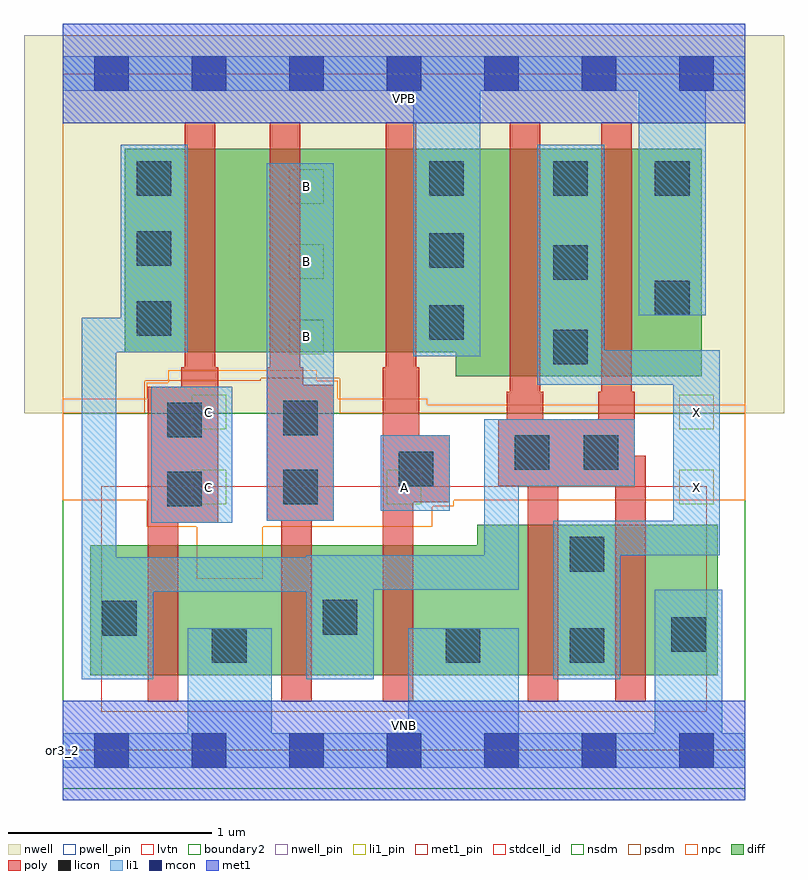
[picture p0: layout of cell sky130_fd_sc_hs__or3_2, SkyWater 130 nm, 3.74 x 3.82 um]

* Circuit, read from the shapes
.subckt sky130_fd_sc_hs__or3_2 A B C VGND VNB VPB VPWR X
XM1 VGND C n1 VNB sky130_fd_pr__nfet_01v8_lvt w=0.64 l=0.15
XM2 n1 B VGND VNB sky130_fd_pr__nfet_01v8_lvt w=0.64 l=0.15
XM3 VGND A n1 VNB sky130_fd_pr__nfet_01v8_lvt w=0.64 l=0.15
XM4 X n1 VGND VNB sky130_fd_pr__nfet_01v8_lvt w=0.74 l=0.15 m=2
XM5 n2 C n1 VPB sky130_fd_pr__pfet_01v8 w=1 l=0.15
XM6 n3 B n2 VPB sky130_fd_pr__pfet_01v8 w=1 l=0.15
XM7 VPWR A n3 VPB sky130_fd_pr__pfet_01v8 w=1 l=0.15
XM8 X n1 VPWR VPB sky130_fd_pr__pfet_01v8 w=1.12 l=0.15 m=2
.ends

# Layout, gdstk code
import gdstk
lib = gdstk.Library(unit=1e-6, precision=1e-09)
def R(c, l, rs):  # rectangles x0, y0, x1, y1
    for r in rs: c.add(gdstk.rectangle(r[:2], r[2:], *l))
def A(c, l, x, y, w, h, nx, ny, dx, dy):  # array of equal rectangles
    R(c, l, [(x+i*dx, y+j*dy, x+i*dx+w, y+j*dy+h) for i in range(nx) for j in range(ny)])
def P(c, l, *ps):  # polygons
    for p in ps: c.add(gdstk.Polygon(p, *l))
nwell_pin = (64, 16)
nwell = (64, 20)
diff = (65, 20)
poly = (66, 20)
licon = (66, 44)
li1_pin = (67, 16)
li1 = (67, 20)
mcon = (67, 44)
met1_pin = (68, 16)
met1 = (68, 20)
stdcell_id = (81, 4)
nsdm = (93, 44)
psdm = (94, 20)
npc = (95, 20)
pwell_pin = (122, 16)
lvtn = (125, 44)
boundary2 = (236, 0)

sky130_fd_sc_hs__or3_2 = lib.new_cell('sky130_fd_sc_hs__or3_2')
R(sky130_fd_sc_hs__or3_2, nwell_pin, [(0,3.085,3.36,3.33)])
R(sky130_fd_sc_hs__or3_2, nwell, [(-0.19,1.66,3.55,3.52)])
P(sky130_fd_sc_hs__or3_2, diff, [(3.145,2.96),(0.305,2.96),(0.305,1.96),(1.935,1.96),(1.935,1.84),(3.145,1.84)],
  [(3.225,1.11),(2.04,1.11),(2.04,1.01),(0.135,1.01),(0.135,0.37),(3.225,0.37)])
P(sky130_fd_sc_hs__or3_2, poly, [(0.765,1.885),(0.75,1.885),(0.75,3.09),(0.6,3.09),(0.6,1.885),(0.585,1.885),(0.585,1.79),(0.42,1.79),(0.42,0.24),(0.57,0.24),(0.57,1.12),(0.765,1.12)],
  [(1.335,1.8),(1.185,1.8),(1.185,1.885),(1.17,1.885),(1.17,3.09),(1.02,3.09),(1.02,1.885),(1.005,1.885),(1.005,1.13),(1.075,1.13),(1.075,0.24),(1.225,0.24),(1.225,1.13),(1.335,1.13)],
  [(1.905,1.55),(1.755,1.55),(1.755,1.885),(1.74,1.885),(1.74,3.09),(1.59,3.09),(1.59,1.885),(1.575,1.885),(1.575,0.24),(1.725,0.24),(1.725,1.22),(1.905,1.22)],
  [(2.87,1.45),(2.815,1.45),(2.815,1.765),(2.8,1.765),(2.8,3.09),(2.65,3.09),(2.65,1.765),(2.635,1.765),(2.635,1.63),(2.365,1.63),(2.365,1.765),(2.35,1.765),(2.35,3.09),(2.2,3.09),(2.2,1.765),(2.185,1.765),(2.185,1.63),(2.145,1.63),(2.145,1.3),(2.29,1.3),(2.29,0.24),(2.44,0.24),(2.44,1.3),(2.72,1.3),(2.72,0.24),(2.87,0.24)])
A(sky130_fd_sc_hs__or3_2, licon, 2.415, 1.9, 0.17, 0.17, 1, 3, 0, 0.415)
A(sky130_fd_sc_hs__or3_2, licon, 1.805, 2.02, 0.17, 0.17, 1, 3, 0, 0.355)
A(sky130_fd_sc_hs__or3_2, licon, 0.365, 2.04, 0.17, 0.17, 1, 3, 0, 0.345)
R(sky130_fd_sc_hs__or3_2, licon, [(0.735,0.43,0.905,0.6), (1.885,0.43,2.055,0.6), (2.495,0.43,2.665,0.6), (2.995,0.485,3.165,0.655), (0.195,0.565,0.365,0.735), (1.28,0.57,1.45,0.74), (2.495,0.88,2.665,1.05), (0.515,1.2,0.685,1.37), (1.085,1.21,1.255,1.38), (1.655,1.3,1.825,1.47), (2.225,1.38,2.395,1.55), (2.565,1.38,2.735,1.55), (0.515,1.54,0.685,1.71), (1.085,1.55,1.255,1.72), (2.915,2.14,3.085,2.31), (2.915,2.73,3.085,2.9)])
A(sky130_fd_sc_hs__or3_2, li1_pin, 1.115, 1.95, 0.17, 0.17, 1, 3, 0, 0.37)
R(sky130_fd_sc_hs__or3_2, li1_pin, [(0.635,1.21,0.805,1.38), (1.595,1.21,1.765,1.38), (3.035,1.21,3.205,1.38), (0.635,1.58,0.805,1.75), (3.035,1.58,3.205,1.75)])
R(sky130_fd_sc_hs__or3_2, li1, [(0.435,1.12,0.835,1.79), (1.005,1.13,1.335,2.89), (1.565,1.18,1.905,1.55)])
P(sky130_fd_sc_hs__or3_2, li1, [(0,-0.085),(0,0.085),(0.615,0.085),(0.615,0.6),(1.03,0.6),(1.03,0.085),(1.7,0.085),(1.7,0.6),(2.245,0.6),(2.245,0.085),(2.915,0.085),(2.915,0.79),(3.245,0.79),(3.245,0.085),(3.36,0.085),(3.36,-0.085)],
  [(0,3.245),(0,3.415),(3.36,3.415),(3.36,3.245),(3.165,3.245),(3.165,2.14),(2.835,2.14),(2.835,3.245),(2.055,3.245),(2.055,1.94),(1.725,1.94),(1.725,3.245)],
  [(3.005,1.13),(3.005,1.8),(2.335,1.8),(2.335,2.98),(2.665,2.98),(2.665,1.97),(3.235,1.97),(3.235,0.96),(2.745,0.96),(2.745,0.35),(2.415,0.35),(2.415,1.13)],
  [(1.2,0.78),(0.445,0.78),(0.445,0.35),(0.095,0.35),(0.095,2.13),(0.285,2.13),(0.285,2.98),(0.615,2.98),(0.615,1.96),(0.265,1.96),(0.265,0.95),(1.2,0.95),(1.2,0.96),(2.075,0.96),(2.075,1.63),(2.815,1.63),(2.815,1.3),(2.245,1.3),(2.245,0.79),(1.53,0.79),(1.53,0.35),(1.2,0.35)])
A(sky130_fd_sc_hs__or3_2, mcon, 0.155, -0.085, 0.17, 0.17, 7, 2, 0.48, 3.33)
R(sky130_fd_sc_hs__or3_2, met1_pin, [(0,0,3.36,0.245), (0,3.085,3.36,3.33)])
R(sky130_fd_sc_hs__or3_2, met1, [(0,-0.245,3.36,0.245), (0,3.085,3.36,3.575)])
R(sky130_fd_sc_hs__or3_2, stdcell_id, [(0,0,3.36,3.33)])
R(sky130_fd_sc_hs__or3_2, nsdm, [(0,-0.19,3.36,1.66)])
P(sky130_fd_sc_hs__or3_2, psdm, [(3.36,3.52),(0,3.52),(0,1.66),(0.405,1.66),(0.405,1.82),(0.975,1.82),(0.975,1.83),(1.365,1.83),(1.365,1.66),(3.36,1.66)])
P(sky130_fd_sc_hs__or3_2, npc, [(3.36,1.7),(1.795,1.7),(1.795,1.73),(1.355,1.73),(1.355,1.82),(1.25,1.82),(1.25,1.87),(0.52,1.87),(0.52,1.81),(0.415,1.81),(0.415,1.73),(0,1.73),(0,1.23),(0.415,1.23),(0.415,1.1),(0.66,1.1),(0.66,0.845),(0.985,0.845),(0.985,1.1),(1.82,1.1),(1.82,1.2),(1.925,1.2),(1.925,1.23),(3.36,1.23)])
R(sky130_fd_sc_hs__or3_2, pwell_pin, [(0,0,3.36,0.245)])
R(sky130_fd_sc_hs__or3_2, lvtn, [(0.19,0.19,3.17,1.3)])
R(sky130_fd_sc_hs__or3_2, boundary2, [(0,0,3.36,3.33)])
sky130_fd_sc_hs__or3_2.add(gdstk.Label('or3_2', (0,0), layer=83, texttype=44))
sky130_fd_sc_hs__or3_2.add(gdstk.Label('VNB', (1.68,0.123), layer=64, texttype=59))
sky130_fd_sc_hs__or3_2.add(gdstk.Label('VPB', (1.68,3.208), layer=64, texttype=5))
sky130_fd_sc_hs__or3_2.add(gdstk.Label('VPWR', (1.68,3.208), layer=68, texttype=5))
sky130_fd_sc_hs__or3_2.add(gdstk.Label('VGND', (1.68,0.123), layer=68, texttype=5))
sky130_fd_sc_hs__or3_2.add(gdstk.Label('X', (3.12,1.295), layer=67, texttype=5))
sky130_fd_sc_hs__or3_2.add(gdstk.Label('X', (3.12,1.665), layer=67, texttype=5))
sky130_fd_sc_hs__or3_2.add(gdstk.Label('C', (0.72,1.295), layer=67, texttype=5))
sky130_fd_sc_hs__or3_2.add(gdstk.Label('C', (0.72,1.665), layer=67, texttype=5))
sky130_fd_sc_hs__or3_2.add(gdstk.Label('A', (1.68,1.295), layer=67, texttype=5))
sky130_fd_sc_hs__or3_2.add(gdstk.Label('B', (1.2,2.035), layer=67, texttype=5))
sky130_fd_sc_hs__or3_2.add(gdstk.Label('B', (1.2,2.405), layer=67, texttype=5))
sky130_fd_sc_hs__or3_2.add(gdstk.Label('B', (1.2,2.775), layer=67, texttype=5))

lib.write_gds('sky130_fd_sc_hs__or3_2.gds')
